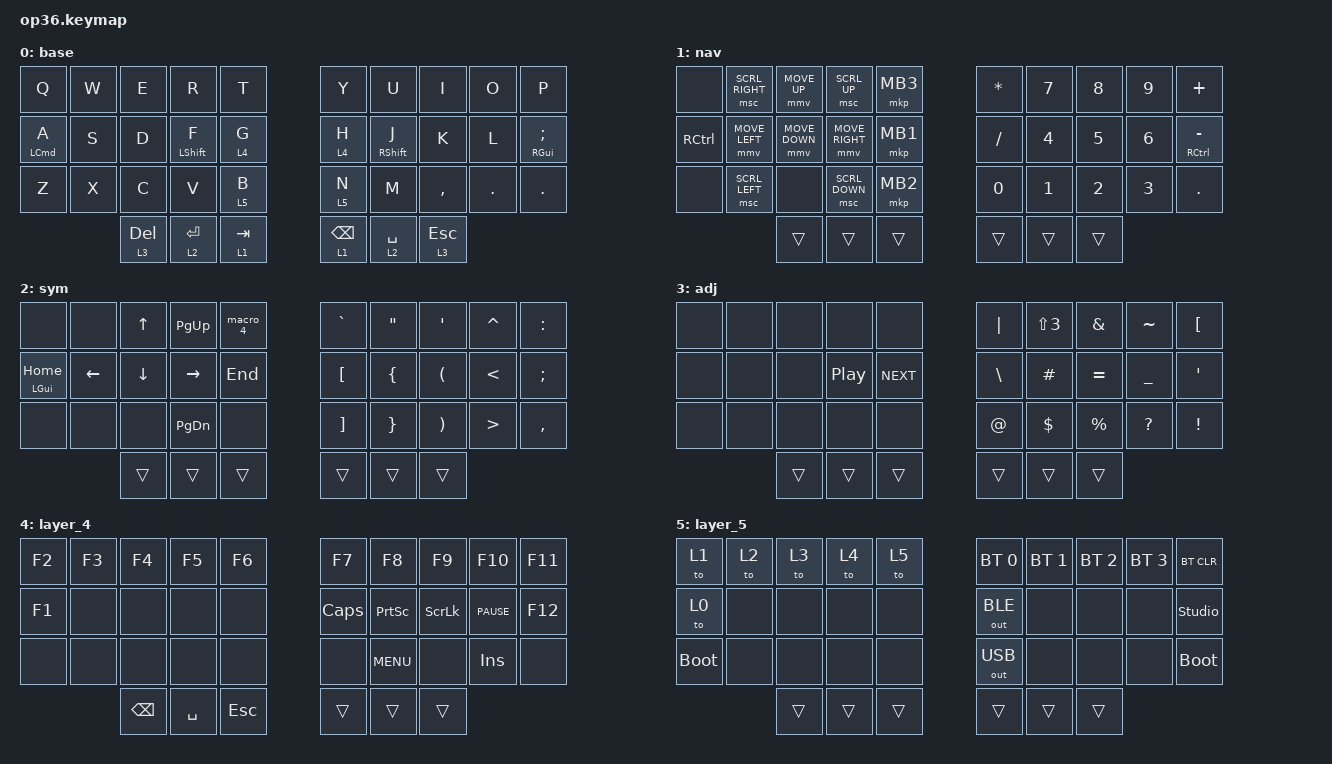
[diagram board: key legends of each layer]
#include <behaviors.dtsi>
#include <dt-bindings/zmk/bt.h>
#include <dt-bindings/zmk/keys.h>
#include <dt-bindings/zmk/outputs.h>
#include <dt-bindings/zmk/pointing.h>

&mt {
    quick-tap-ms = <200>;
    flavor = "tap-preferred";
    require-prior-idle-ms = <125>;
};

/ {
    behaviors {
        hml: home_row_mod_left {
            compatible = "zmk,behavior-hold-tap";
            #binding-cells = <2>;
            flavor = "balanced";
            require-prior-idle-ms = <150>;
            tapping-term-ms = <280>;
            quick-tap-ms = <175>;
            bindings = <&kp>, <&kp>;

            hold-trigger-key-positions = <5 6 7 8 9 15 16 17 18 19 25 26 27 28 29 33 34 35>;
            hold-trigger-on-release;
        };

        hmr: home_row_mod_right {
            compatible = "zmk,behavior-hold-tap";
            #binding-cells = <2>;
            flavor = "balanced";
            require-prior-idle-ms = <150>;
            tapping-term-ms = <280>;
            quick-tap-ms = <175>;
            bindings = <&kp>, <&kp>;

            hold-trigger-key-positions = <0 1 2 3 4 10 11 12 13 14 20 21 22 23 24 30 31 32>;
            hold-trigger-on-release;
        };
    };

    combos {
        compatible = "zmk,combos";

        kha {
            bindings = <&kp LEFT_ALT>;
            key-positions = <11 12>;
        };

        hrdsgn {
            bindings = <&kp RIGHT_ALT>;
            key-positions = <17 18>;
        };

        combo_3 {
            bindings = <&kp LEFT_GUI>;
            key-positions = <21 22>;
        };

        combo_4 {
            bindings = <&kp RIGHT_GUI>;
            key-positions = <27 28>;
        };
    };

    macros {
        macro_0: macro_1 {
            compatible = "zmk,behavior-macro";
            #binding-cells = <0>;
            bindings = <&kp LG(SPACE)>;
            label = "MACRO_1";
        };

        macro_1: macro_2 {
            compatible = "zmk,behavior-macro";
            #binding-cells = <0>;
            bindings = <&kp LS(LC(N0))>;
            label = "MACRO_2";
        };

        macro_2: macro_3 {
            compatible = "zmk,behavior-macro";
            #binding-cells = <0>;
            bindings = <&kp LS(LC(NUMBER_1))>;
            label = "MACRO_3";
        };

        macro_4: macro_4 {
            compatible = "zmk,behavior-macro";
            #binding-cells = <0>;
            bindings = <&kp LS(END)>, <&macro_wait_time 100>, <&kp DEL>;

            label = "MACRO_4";
        };

        macro_5: macro_5 {
            compatible = "zmk,behavior-macro";
            #binding-cells = <0>;
            bindings = <&kp HOME>, <&macro_wait_time 100>, <&kp LS(END)>;

            label = "MACRO_5";
        };
    };

    keymap {
        compatible = "zmk,keymap";

        base {
            bindings = <
  &kp Q                &kp W  &kp E  &kp R              &kp T                                      &kp Y        &kp U               &kp I      &kp O    &kp P
  &hml LEFT_COMMAND A  &kp S  &kp D  &hml LEFT_SHIFT F  &lt 4 G                                    &lt 4 H      &hmr RIGHT_SHIFT J  &kp K      &kp L    &hmr RGUI SEMICOLON
  &kp Z                &kp X  &kp C  &kp V              &lt 5 B                                    &lt 5 N      &kp M               &kp COMMA  &kp DOT  &kp PERIOD
                                     &lt 3 DEL          &lt 2 ENTER  &lt 1 TAB    &lt 1 BACKSPACE  &lt 2 SPACE  &lt 3 ESC
            >;
        };

        nav {
            bindings = <
  &none      &msc SCRL_RIGHT  &mmv MOVE_UP    &msc SCRL_UP     &mkp MB3                    &kp ASTERISK  &kp N7        &kp N8        &kp N9        &kp PLUS
  &kp RCTRL  &mmv MOVE_LEFT   &mmv MOVE_DOWN  &mmv MOVE_RIGHT  &mkp MB1                    &kp SLASH     &kp NUMBER_4  &kp N5        &kp NUMBER_6  &hmr RCTRL MINUS
  &none      &msc SCRL_LEFT   &none           &msc SCRL_DOWN   &mkp MB2                    &kp N0        &kp NUMBER_1  &kp NUMBER_2  &kp NUMBER_3  &kp PERIOD
                                              &trans           &trans    &trans    &trans  &trans        &trans
            >;
        };

        sym {
            bindings = <
  &none           &none     &kp UP    &kp PAGE_UP    &macro_4                    &kp GRAVE          &kp DOUBLE_QUOTES  &kp SQT                &kp CARET         &kp COLON
  &hml LGUI HOME  &kp LEFT  &kp DOWN  &kp RIGHT      &kp END                     &kp LEFT_BRACKET   &kp LEFT_BRACE     &kp LEFT_PARENTHESIS   &kp LESS_THAN     &kp SEMICOLON
  &none           &none     &none     &kp PAGE_DOWN  &none                       &kp RIGHT_BRACKET  &kp RIGHT_BRACE    &kp RIGHT_PARENTHESIS  &kp GREATER_THAN  &kp COMMA
                                      &trans         &trans    &trans    &trans  &trans             &trans
            >;
        };

        adj {
            bindings = <
  &none  &none  &none  &none             &none                         &kp PIPE       &kp LS(NUMBER_3)  &kp AMPERSAND  &kp TILDE       &kp LEFT_BRACKET
  &none  &none  &none  &kp C_PLAY_PAUSE  &kp C_NEXT                    &kp BACKSLASH  &kp HASH          &kp EQUAL      &kp UNDERSCORE  &kp SQT
  &none  &none  &none  &none             &none                         &kp AT_SIGN    &kp DOLLAR        &kp PERCENT    &kp QUESTION    &kp EXCLAMATION
                       &trans            &trans      &trans    &trans  &trans         &trans
            >;
        };

        layer_4 {
            bindings = <
  &kp F2  &kp F3  &kp F4  &kp F5         &kp F6                           &kp F7        &kp F8           &kp F9          &kp F10      &kp F11
  &kp F1  &none   &none   &none          &none                            &kp CAPSLOCK  &kp PRINTSCREEN  &kp SCROLLLOCK  &kp C_PAUSE  &kp F12
  &none   &none   &none   &none          &none                            &none         &kp K_MENU       &none           &kp INSERT   &none
                          &kp BACKSPACE  &kp SPACE  &kp ESCAPE    &trans  &trans        &trans
            >;
        };

        layer_5 {
            bindings = <
  &to 1        &to 2  &to 3  &to 4   &to 5                     &bt BT_SEL 0  &bt BT_SEL 1  &bt BT_SEL 2  &bt BT_SEL 3  &bt BT_CLR
  &to 0        &none  &none  &none   &none                     &out OUT_BLE  &none         &none         &none         &studio_unlock
  &bootloader  &none  &none  &none   &none                     &out OUT_USB  &none         &none         &none         &bootloader
                             &trans  &trans  &trans    &trans  &trans        &trans
            >;
        };
    };
};
